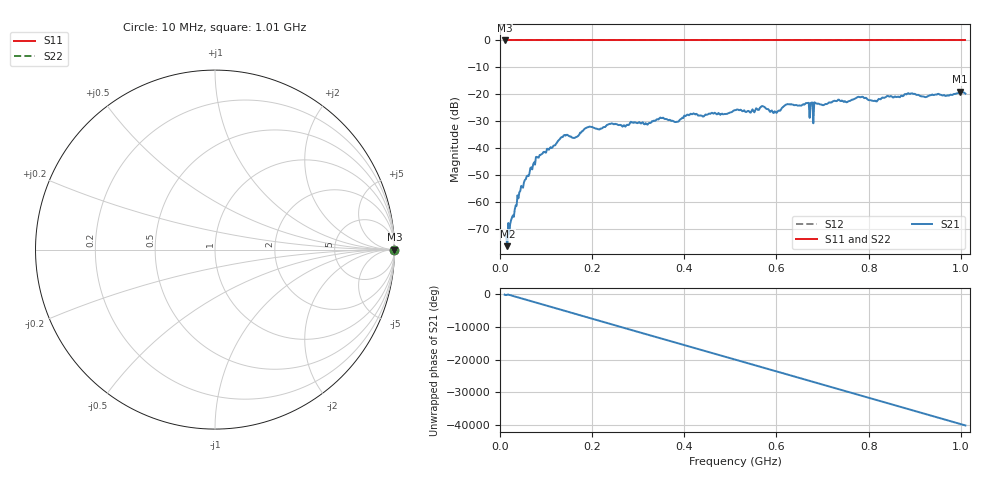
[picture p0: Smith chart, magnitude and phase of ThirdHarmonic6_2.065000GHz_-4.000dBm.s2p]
! 8/17/2025 12:44:20 AM
! C:\ANRITSUVNA\TEMP\TEMP.S2P
! CHANNEL.1
! TR.MEASUREMENT
! RAW.DATA
! RF.CORRECTION.OFF
! AVERAGING.OFF
! IF.BANDWIDTH: 5KHZ
! SWEEPTYPE:  FREQ.SWEEP(Linear)
! Reference Plane Port Info
! PORT:  PORT1  PORT2
! DISTANCE:  0  m  0  m
! TIME:  0  s  0  s
! PHASE.OFFSET:  0  deg.  0  deg.
! LOSS:  0  dB  0  dB
! REF.LOSS:  0  dB  0  dB
! REF.FREQ:  0  Hz  0  Hz
! Power Info
! POWER:  -20  dBm  -20  dBm
! EFF.POWER:  -20  dBm  -20  dBm
! SOURCE.ATTEN:  0  dB  0  dB
! TEST.ATTEN:  0  dB  0  dB
# GHZ S RI R 50.0
! FREQ.GHZ  S11RE  S11IM  S21RE  S21IM  S12RE  S12IM  S22RE  S22IM
!; PortSelection: Port_12
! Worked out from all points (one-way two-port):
!   501 points, 10 MHz to 1.01 GHz, reference 50 ohm
!   highest |S21| = -18.94 dB at 998 MHz (marker M1); lowest = -76.2 dB at 16 MHz (marker M2)
!   lowest |S11| = 0.0 dB at 10 MHz (marker M3)
!   |S11| at or under -10 dB: nowhere
!   |S22| runs from 0.0 to 0.0 dB; largest |S21 - S12| = 1.1
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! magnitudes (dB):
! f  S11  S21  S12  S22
! 10 MHz  0.0  -72.1  0.0  0.0
! 16 MHz  0.0  -76.2  0.0  0.0
! 42 MHz  0.0  -56.3  0.0  0.0
! 82 MHz  0.0  -43.4  0.0  0.0
! 136 MHz  0.0  -35.8  0.0  0.0
! 162 MHz  0.0  -36.1  0.0  0.0
! 178 MHz  0.0  -33.6  0.0  0.0
! 194 MHz  0.0  -31.9  0.0  0.0
! 344 MHz  0.0  -29.3  0.0  0.0
! 384 MHz  0.0  -30.1  0.0  0.0
! 416 MHz  0.0  -27.3  0.0  0.0
! 510 MHz  0.0  -25.8  0.0  0.0
! 548 MHz  0.0  -25.5  0.0  0.0
! 570 MHz  0.0  -24.3  0.0  0.0
! 596 MHz  0.0  -26.3  0.0  0.0
! 624 MHz  0.0  -23.5  0.0  0.0
! 678 MHz  0.0  -23.0  0.0  0.0
! 780 MHz  0.0  -21.0  0.0  0.0
! 814 MHz  0.0  -22.3  0.0  0.0
! 844 MHz  0.0  -20.7  0.0  0.0
! 998 MHz  0.0  -18.9  0.0  0.0
! 1.01 GHz  0.0  -19.7  0.0  0.0
